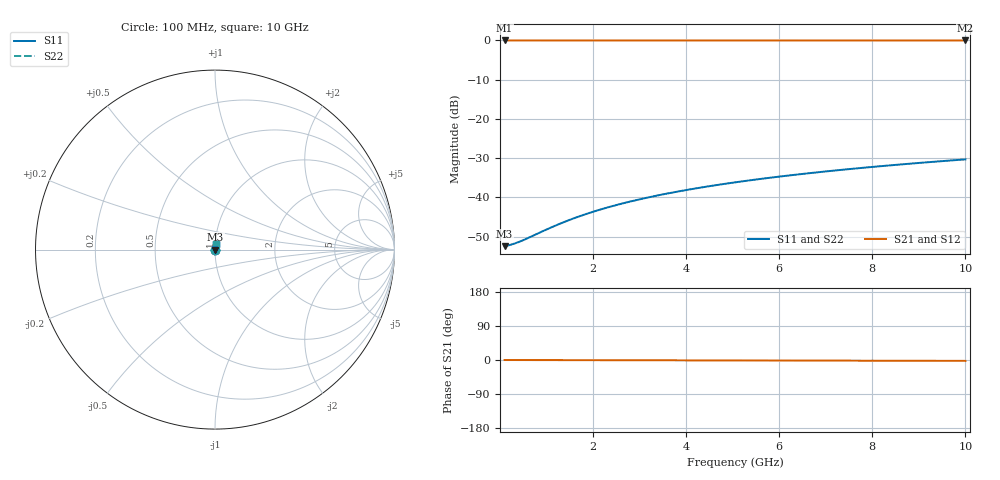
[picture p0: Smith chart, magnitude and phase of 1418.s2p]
# Hz S RI R 50.00
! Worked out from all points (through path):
!   100 points, 100 MHz to 10 GHz, reference 50 ohm
!   highest |S21| = -0.02 dB at 100 MHz (marker M1); lowest = 0.0 dB at 10 GHz (marker M2)
!   lowest |S11| = -52.4 dB at 100 MHz (marker M3), VSWR 1.00, Z = 50.2 + j0.0304 ohm
!   |S11| at or under -10 dB: start of sweep to end of sweep
!   |S22| runs from -52.4 to -30.3 dB; largest |S21 - S12| = 0
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1e8  0.00237 0.000302  0.9976 -0.0004  0.9976 -0.0004  0.00237 0.000302
2e8  0.00238 0.000604  0.9976 -0.0008  0.9976 -0.0008  0.00238 0.000604
3e8  0.0024 0.000906  0.9976 -0.0012  0.9976 -0.0012  0.0024 0.000906
4e8  0.00241 0.00121  0.9976 -0.0016  0.9976 -0.0016  0.00241 0.00121
6e8  0.00242 0.00181  0.9976 -0.0024  0.9976 -0.0024  0.00242 0.00181
1e9  0.00245 0.00302  0.9975 -0.004  0.9975 -0.004  0.00245 0.00302
1.2e9  0.00247 0.00363  0.9975 -0.0048  0.9975 -0.0048  0.00247 0.00363
1.5e9  0.00249 0.00453  0.9975 -0.006  0.9975 -0.006  0.00249 0.00453
1.8e9  0.00251 0.00544  0.9975 -0.0072  0.9975 -0.0072  0.00251 0.00544
2.1e9  0.00253 0.00634  0.9975 -0.0084  0.9975 -0.0084  0.00253 0.00634
2.5e9  0.00257 0.00755  0.9974 -0.01  0.9974 -0.01  0.00257 0.00755
2.9e9  0.0026 0.00876  0.9974 -0.0116  0.9974 -0.0116  0.0026 0.00876
3.4e9  0.00265 0.0103  0.9973 -0.0136  0.9973 -0.0136  0.00265 0.0103
3.8e9  0.00269 0.0115  0.9973 -0.0152  0.9973 -0.0152  0.00269 0.0115
4.2e9  0.00274 0.0127  0.9972 -0.0168  0.9972 -0.0168  0.00274 0.0127
4.6e9  0.00279 0.0139  0.9972 -0.0184  0.9972 -0.0184  0.00279 0.0139
5.1e9  0.00286 0.0154  0.9971 -0.0204  0.9971 -0.0204  0.00286 0.0154
5.9e9  0.00298 0.0178  0.997 -0.0236  0.997 -0.0236  0.00298 0.0178
6.7e9  0.00312 0.0202  0.9969 -0.0268  0.9969 -0.0268  0.00312 0.0202
7.5e9  0.00327 0.0227  0.9967 -0.03  0.9967 -0.03  0.00327 0.0227
8.4e9  0.00345 0.0254  0.9965 -0.0336  0.9965 -0.0336  0.00345 0.0254
1e10  0.00384 0.0302  0.9961 -0.04  0.9961 -0.04  0.00384 0.0302
